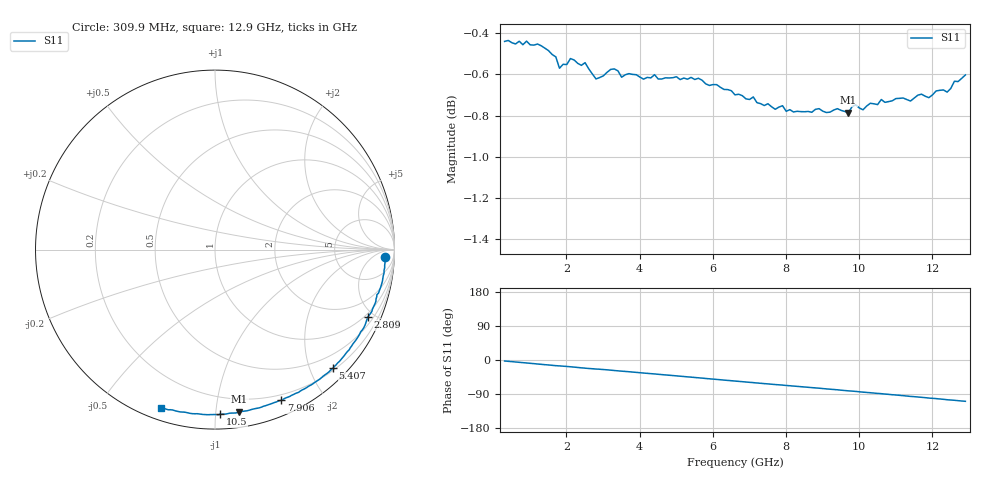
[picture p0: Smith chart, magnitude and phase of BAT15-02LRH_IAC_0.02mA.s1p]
! Infineon Technologies  Discrete & RF Semiconductors
! BAT15-02LRH
! IAC = 0.02 mA
! One-Port S-Parameters
# Hz  S  MA  R  50
!f  S11
!Hz  Mag  Ang
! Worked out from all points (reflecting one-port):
!   127 points, 309.9 MHz to 12.9 GHz, reference 50 ohm
!   lowest |S11| = -0.8 dB at 9.705 GHz (marker M1), VSWR 22.11, Z = 5.3 - j57.8 ohm
!   phase of S11 starts at -3 deg and turns -106 deg over the sweep
!   S11 on the Smith chart (normalised r, x): 309.9 MHz: 22, -20; 2.809 GHz: 0.82, -4.61; 5.407 GHz: 0.24, -2.38; 7.906 GHz: 0.14, -1.52; 10.5 GHz: 0.09, -1.03; 12.9 GHz: 0.05, -0.71
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3.0985e8  0.9507 -2.6
1.2094e9  0.9493 -10.6
1.70915e9  0.9425 -14.9
1.8091e9  0.9365 -15.5
1.90905e9  0.9386 -16.3
2.10895e9  0.9416 -17.9
2.50875e9  0.9394 -21.5
2.8086e9  0.9309 -23.8
3.2084e9  0.9359 -26.8
3.50825e9  0.9318 -29.4
4.4078e9  0.9332 -36.8
5.10745e9  0.9306 -42.7
5.4073e9  0.9317 -45.3
6.10695e9  0.928 -51.3
6.6067e9  0.9226 -55.6
7.10645e9  0.9216 -59.7
7.90605e9  0.9171 -66.2
8.2059e9  0.9139 -68.8
8.90555e9  0.9156 -74.4
9.70515e9  0.9135 -81.4
9.8051e9  0.9166 -82.1
1.050475e10  0.9177 -88.2
1.10045e10  0.9207 -92.4
1.14043e10  0.9195 -96.0
1.210395e10  0.9247 -101.9
1.24038e10  0.9241 -104.8
1.26037e10  0.9297 -106.3
1.290355e10  0.933 -109.0
